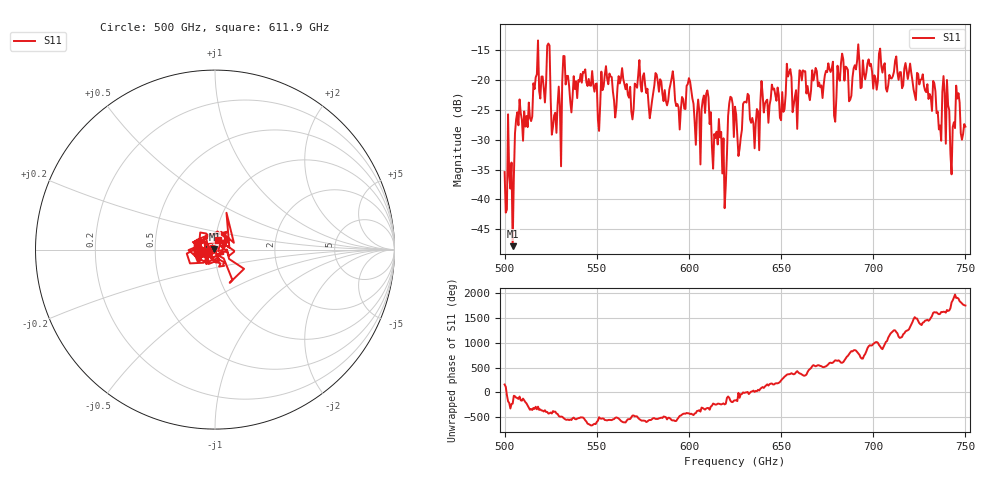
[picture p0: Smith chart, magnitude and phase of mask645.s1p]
!Created with skrf (http://scikit-rf.org).
# GHz S MA R 50.0
!freq magS11 angS11
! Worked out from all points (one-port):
!   401 points, 500 GHz to 750 GHz, reference 50 ohm
!   lowest |S11| = -47.9 dB at 504.4 GHz (marker M1), VSWR 1.01, Z = 49.7 + j0.289 ohm
!   |S11| at or under -10 dB: start of sweep to end of sweep
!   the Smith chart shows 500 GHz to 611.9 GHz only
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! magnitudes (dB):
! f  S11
! 500 GHz  -35.4
! 504.4 GHz  -47.9
! 506.9 GHz  -25.4
! 513.8 GHz  -26.3
! 516.9 GHz  -19.5
! 523.8 GHz  -13.9
! 526.9 GHz  -25.9
! 531.2 GHz  -20.3
! 562.5 GHz  -20.6
! 568.8 GHz  -25.3
! 590.6 GHz  -19.7
! 593.8 GHz  -24.0
! 600 GHz  -19.7
! 605 GHz  -23.3
! 609.4 GHz  -22.3
! 619.4 GHz  -41.5
! 622.5 GHz  -22.8
! 625 GHz  -24.5
! 656.2 GHz  -25.4
! 683.8 GHz  -16.5
! 687.5 GHz  -23.3
! 691.2 GHz  -16.8
! 718.8 GHz  -19.8
! 735.6 GHz  -28.3
! 738.8 GHz  -22.2
! 743.1 GHz  -27.9
! 745.6 GHz  -23.1
! 750 GHz  -27.8
